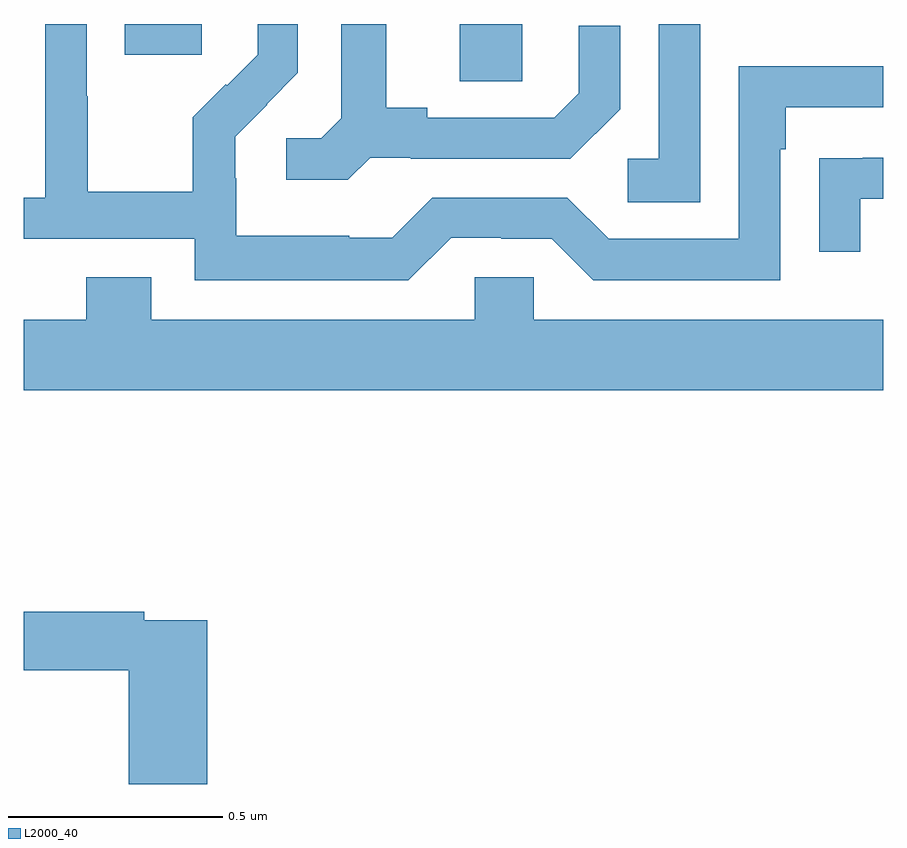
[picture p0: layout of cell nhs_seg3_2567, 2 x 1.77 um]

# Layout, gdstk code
import gdstk
lib = gdstk.Library(unit=1e-6, precision=1e-09)
def R(c, l, rs):  # rectangles x0, y0, x1, y1
    for r in rs: c.add(gdstk.rectangle(r[:2], r[2:], *l))
def P(c, l, *ps):  # polygons
    for p in ps: c.add(gdstk.Polygon(p, *l))
L2000_40 = (2000, 40)

nhs_seg3_2567 = lib.new_cell('nhs_seg3_2567')
R(nhs_seg3_2567, L2000_40, [(143.015,736.267,143.16,736.4), (142.235,736.329,142.414,736.4)])
P(nhs_seg3_2567, L2000_40, [(142.995,735.903),(143.111,735.903),(143.111,735.9),(143.229,735.9),(143.325,735.804),(143.76,735.804),(143.76,736.109),(143.773,736.109),(143.773,736.206),(144,736.206),(144,736.302),(143.664,736.302),(143.664,735.9),(143.361,735.9),(143.265,735.996),(142.95,735.996),(142.857,735.903),(142.757,735.903),(142.757,735.907),(142.494,735.907),(142.494,736.041),(142.492,736.041),(142.492,736.138),(142.566,736.212),(142.565,736.213),(142.638,736.286),(142.638,736.4),(142.544,736.4),(142.544,736.328),(142.473,736.257),(142.47,736.26),(142.393,736.183),(142.393,736.009),(142.149,736.009),(142.149,736.232),(142.146,736.232),(142.146,736.4),(142.05,736.4),(142.05,735.996),(142,735.996),(142,735.9),(142.398,735.9),(142.398,735.803),(142.895,735.803)],
  [(143.574,736.4),(143.478,736.4),(143.478,736.086),(143.406,736.086),(143.406,735.985),(143.574,735.985)],
  [(142.806,736.089),(142.9,736.089),(142.9,736.086),(143.272,736.086),(143.388,736.202),(143.388,736.396),(143.291,736.396),(143.291,736.239),(143.234,736.182),(142.939,736.182),(142.939,736.205),(142.843,736.205),(142.843,736.4),(142.739,736.4),(142.739,736.181),(142.692,736.134),(142.611,736.134),(142.611,736.037),(142.754,736.037)],
  [(143.947,735.993),(144,735.993),(144,736.089),(143.953,736.089),(143.953,736.088),(143.851,736.088),(143.851,735.87),(143.947,735.87)],
  [(144,735.712),(143.187,735.712),(143.187,735.81),(143.049,735.81),(143.049,735.712),(142.297,735.712),(142.297,735.811),(142.145,735.811),(142.145,735.712),(142,735.712),(142,735.548),(144,735.548)],
  [(142.427,735.012),(142.28,735.012),(142.28,735.032),(142,735.032),(142,734.896),(142.244,734.896),(142.244,734.631),(142.427,734.631)])

lib.write_gds('nhs_seg3_2567.gds')
